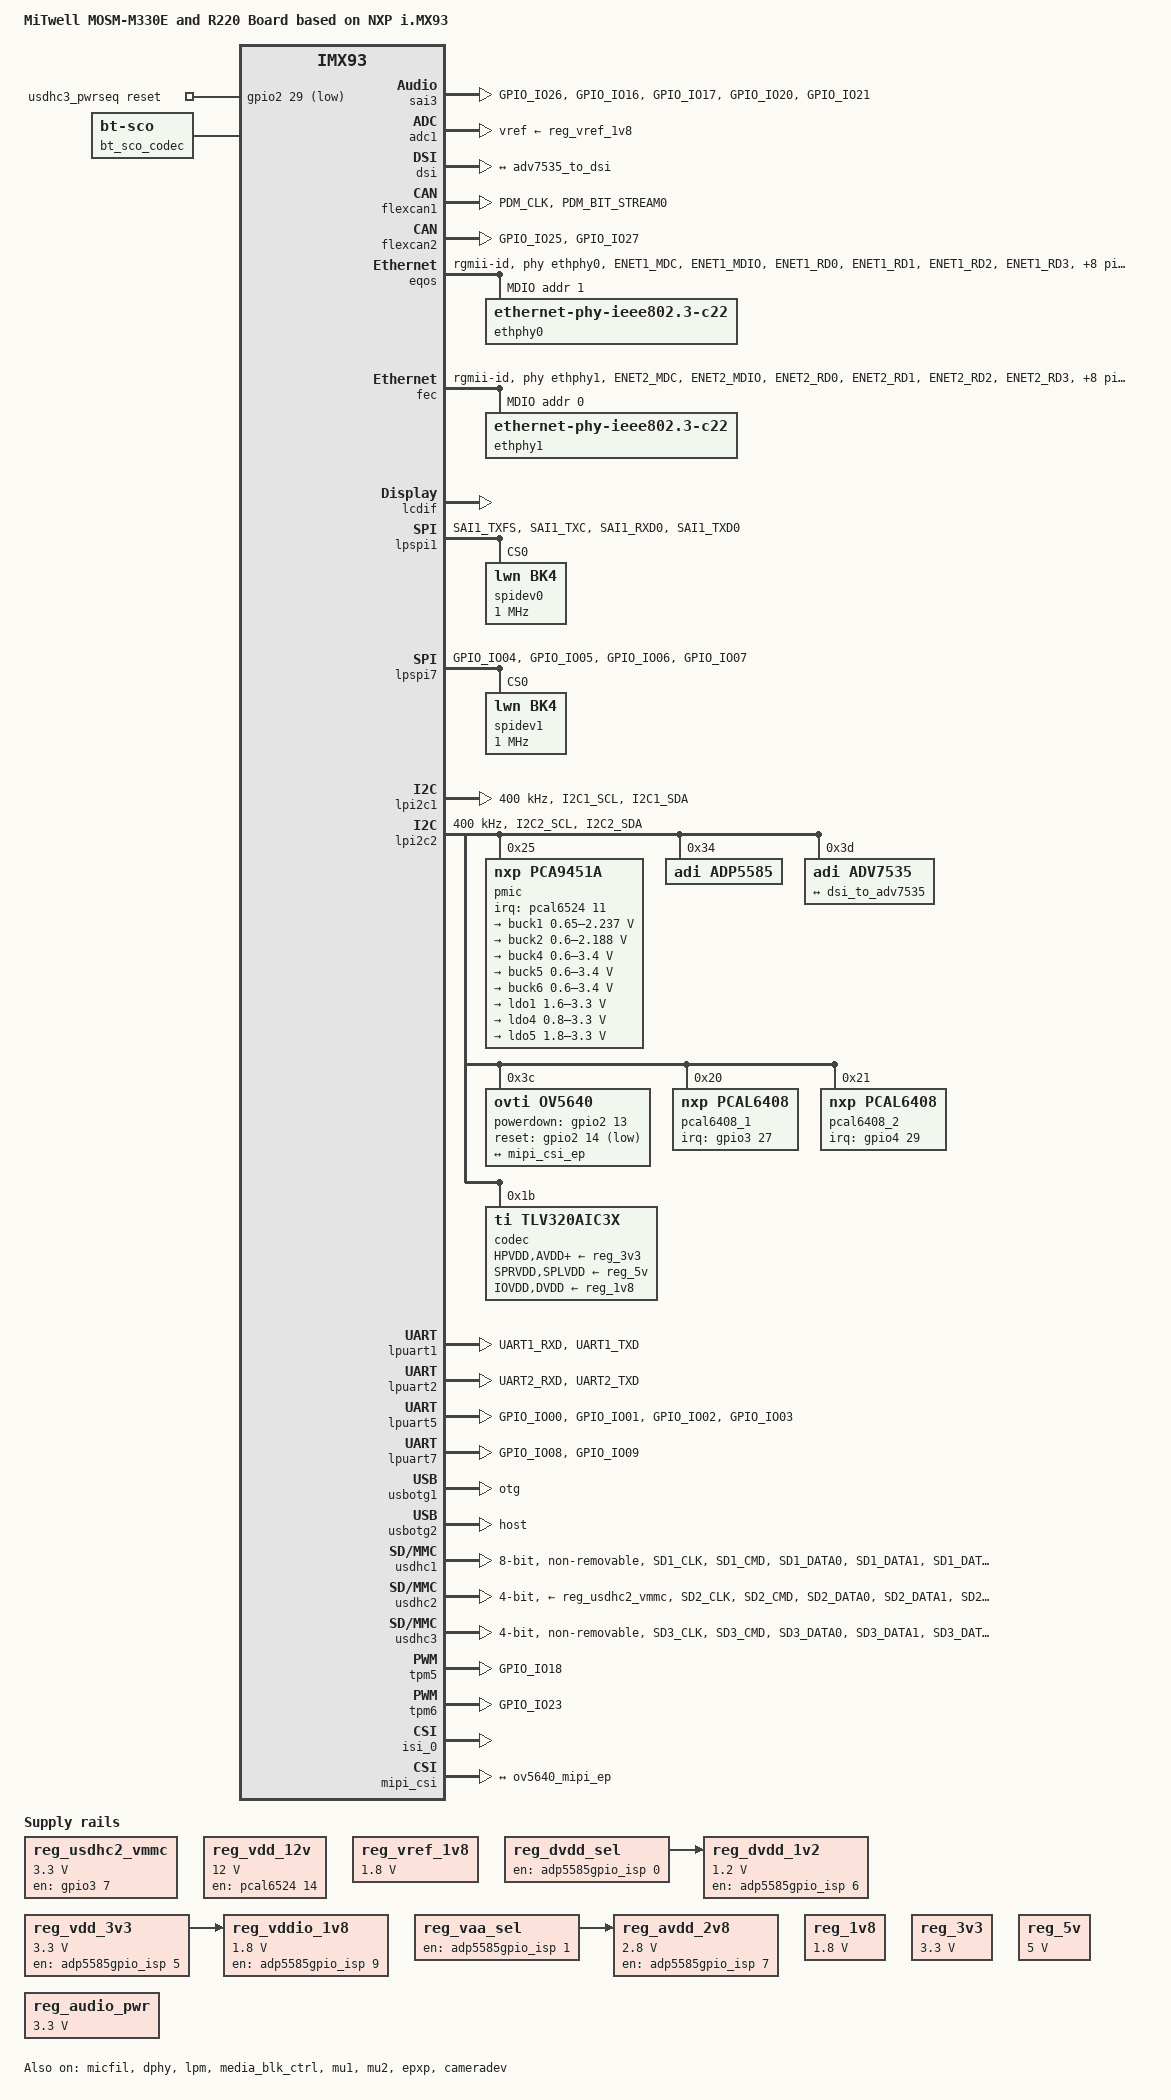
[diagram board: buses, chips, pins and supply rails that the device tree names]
// SPDX-License-Identifier: (GPL-2.0+ OR MIT)
/*
 * Copyright 2022 NXP
 */

/dts-v1/;

//#define M330E_R200
#define M330E_R400_R220
#define AUDIO_TLV320AIC3106

#include <dt-bindings/usb/pd.h>
#include "imx93.dtsi"
#include <dt-bindings/net/ti-dp83867.h>
#include <dt-bindings/sound/tlv320aic31xx.h>

&ele_mu {
	memory-region = <&ele_reserved>;
};

/ {
	model = "MiTwell MOSM-M330E and R220 Board based on NXP i.MX93";
	compatible = "fsl,imx93-11x11-evk", "fsl,imx93";

	chosen {
		stdout-path = &lpuart1;
	};

	reserved-memory {
		#address-cells = <2>;
		#size-cells = <2>;
		ranges;

		linux,cma {
			compatible = "shared-dma-pool";
			reusable;
			alloc-ranges = <0 0x80000000 0 0x40000000>;
			size = <0 0x10000000>;
			linux,cma-default;
		};

		ethosu_mem: ethosu_region@C0000000 {
			compatible = "shared-dma-pool";
			reusable;
			reg = <0x0 0xC0000000 0x0 0x10000000>;
		};

		vdev0vring0: vdev0vring0@a4000000 {
			reg = <0 0xa4000000 0 0x8000>;
			no-map;
		};

		vdev0vring1: vdev0vring1@a4008000 {
			reg = <0 0xa4008000 0 0x8000>;
			no-map;
		};

		vdev1vring0: vdev1vring0@a4000000 {
			reg = <0 0xa4010000 0 0x8000>;
			no-map;
		};

		vdev1vring1: vdev1vring1@a4018000 {
			reg = <0 0xa4018000 0 0x8000>;
			no-map;
		};

		rsc_table: rsc-table@2021e000 {
			reg = <0 0x2021e000 0 0x1000>;
			no-map;
		};

		vdevbuffer: vdevbuffer@a4020000 {
			compatible = "shared-dma-pool";
			reg = <0 0xa4020000 0 0x100000>;
			no-map;
		};

		ele_reserved: ele-reserved@a4120000 {
			compatible = "shared-dma-pool";
			reg = <0 0xa4120000 0 0x100000>;
			no-map;
		};
	};

	cm33: imx93-cm33 {
		compatible = "fsl,imx93-cm33";
		mbox-names = "tx", "rx", "rxdb";
		mboxes = <&mu1 0 1
			  &mu1 1 1
			  &mu1 3 1>;
		memory-region = <&vdevbuffer>, <&vdev0vring0>, <&vdev0vring1>,
				<&vdev1vring0>, <&vdev1vring1>, <&rsc_table>;
		fsl,startup-delay-ms = <500>;
	};

	ethosu {
		compatible = "arm,ethosu";
		fsl,cm33-proc = <&cm33>;
		memory-region = <&ethosu_mem>;
		power-domains = <&mlmix>;
	};

	/*reg_can2_stby: regulator-can2-stby {
		compatible = "regulator-fixed";
		regulator-name = "can2-stby";
		regulator-min-microvolt = <3300000>;
		regulator-max-microvolt = <3300000>;
		gpio = <&adp5585gpio 5 GPIO_ACTIVE_LOW>;
		enable-active-low;
	};*/

	reg_usdhc2_vmmc: regulator-usdhc2 {
		compatible = "regulator-fixed";
		pinctrl-names = "default";
		pinctrl-0 = <&pinctrl_reg_usdhc2_vmmc>;
		regulator-name = "VSD_3V3";
		regulator-min-microvolt = <3300000>;
		regulator-max-microvolt = <3300000>;
		gpio = <&gpio3 7 GPIO_ACTIVE_HIGH>;
		off-on-delay-us = <12000>;
		enable-active-high;
	};

	reg_vdd_12v: regulator-vdd-12v {
		compatible = "regulator-fixed";
		regulator-name = "reg_vdd_12v";
		regulator-min-microvolt = <12000000>;
		regulator-max-microvolt = <12000000>;
		gpio = <&pcal6524 14 GPIO_ACTIVE_HIGH>;
		enable-active-high;
	};

	reg_vref_1v8: regulator-adc-vref {
		compatible = "regulator-fixed";
		regulator-name = "vref_1v8";
		regulator-min-microvolt = <1800000>;
		regulator-max-microvolt = <1800000>;
	};

	reg_dvdd_sel: regulator-dvdd_sel {
		compatible = "regulator-fixed";
		regulator-name = "DVDD_SEL";
		gpio = <&adp5585gpio_isp 0 GPIO_ACTIVE_HIGH>;
		enable-active-high;
		startup-delay-us = <2000>;
	};

	reg_dvdd_1v2: regulator-dvdd {
		compatible = "regulator-fixed";
		regulator-name = "DVDD_1V2";
		gpio = <&adp5585gpio_isp 6 GPIO_ACTIVE_HIGH>;
		regulator-min-microvolt = <1200000>;
		regulator-max-microvolt = <1200000>;
		enable-active-high;
		vin-supply = <&reg_dvdd_sel>;
	};

	reg_vdd_3v3: regulator-vdd {
		compatible = "regulator-fixed";
		regulator-name = "VDD_3V3";
		gpio = <&adp5585gpio_isp 5 GPIO_ACTIVE_HIGH>;
		regulator-min-microvolt = <3300000>;
		regulator-max-microvolt = <3300000>;
		startup-delay-us = <4000>;
		enable-active-high;
	};

	reg_vddio_1v8: regulator-vddo {
		compatible = "regulator-fixed";
		regulator-name = "VDDIO_1V8";
		gpio = <&adp5585gpio_isp 9 GPIO_ACTIVE_HIGH>;
		regulator-min-microvolt = <1800000>;
		regulator-max-microvolt = <1800000>;
		startup-delay-us = <4000>;
		enable-active-high;
		vin-supply = <&reg_vdd_3v3>;
	};

	reg_vaa_sel: regulator-vaa_sel {
		compatible = "regulator-fixed";
		regulator-name = "VAA_SEL";
		gpio = <&adp5585gpio_isp 1 GPIO_ACTIVE_HIGH>;
		enable-active-high;
	};

	reg_avdd_2v8: regulator-avdd {
		compatible = "regulator-fixed";
		regulator-name = "AVDD_2V8";
		gpio = <&adp5585gpio_isp 7 GPIO_ACTIVE_HIGH>;
		regulator-min-microvolt = <2800000>;
		regulator-max-microvolt = <2800000>;
		enable-active-high;
		vin-supply = <&reg_vaa_sel>;
	};

#ifdef AUDIO_TLV320AIC3106
	sound-tlv320aic31xx {
		compatible = "fsl,imx-audio-tlv320aic3x";
		model = "tlv320aic3x";
		cpu-dai = <&sai3>;
		//audio-cpu = <&sai3>;
		audio-codec = <&codec>;
		audio-routing =
			"MIC3L", "Mic Jack",
			"Mic Jack", "Mic Bias",
			"Headphone Jack", "HPLOUT",
			"Headphone Jack", "HPROUT";
		mux-int-port = <1>;
		mux-ext-port = <3>;
		pri-dai-link {
			link-name = "tlv320aic3";
			format = "i2s";
			cpu {
				sound-dai = <&sai3>;
			};

			codec {
				sound-dai = <&codec>;
			};
		};
	};
#else
	sound-wm8960 {
		compatible = "fsl,imx-audio-wm8960";
		model = "wm8960-audio";
		audio-cpu = <&sai3>;
		audio-codec = <&codec>;
		hp-det-gpio = <&gpio4 28 0>;
		audio-routing =
			"Headphone Jack", "HP_L",
			"Headphone Jack", "HP_R",
			"Ext Spk", "SPK_LP",
			"Ext Spk", "SPK_LN",
			"Ext Spk", "SPK_RP",
			"Ext Spk", "SPK_RN",
			"LINPUT1", "Mic Jack",
			"LINPUT3", "Mic Jack",
			"Mic Jack", "MICB";
	};
#endif
	
#ifdef M330E_R400_R220
	regulators {
                 compatible = "simple-bus";
                 #address-cells = <1>;
                 #size-cells = <0>;
 
                 reg_1v8: codec-1v8 {
                         compatible = "regulator-fixed";
                         regulator-name = "codec-1v8";
                         regulator-min-microvolt = <1800000>;
                         regulator-max-microvolt = <1800000>;
                         regulator-always-on;
                 };
 
                 reg_3v3: codec-3v3 {
                         compatible = "regulator-fixed";
                         regulator-name = "codec-3v3";
                         regulator-min-microvolt = <3300000>;
                         regulator-max-microvolt = <3300000>;
                         regulator-always-on;
                 };
                 
                 reg_5v: codec-5v {
                         compatible = "regulator-fixed";
                         regulator-name = "codec-5v";
                         regulator-min-microvolt = <5000000>;
                         regulator-max-microvolt = <5000000>;
                         regulator-always-on;
                 };
                 
                 reg_audio_pwr: regulator-audio-pwr {
                         compatible = "regulator-fixed";
                         regulator-name = "audio-pwr";
                         regulator-min-microvolt = <3300000>;
                         regulator-max-microvolt = <3300000>;
                         enable-active-high;
                         regulator-always-on;
                 };
         };
	
	usdhc3_pwrseq: usdhc3_pwrseq {
		compatible = "mmc-pwrseq-simple";
		pinctrl-names = "default";
		pinctrl-0 = <&pinctrl_usdhc3_gpio>;
		reset-gpios = <&gpio2 29 GPIO_ACTIVE_LOW>;
		reset-assert-us = <15000>;
		reset-deassert-us = <80000>;
	};
#endif
	
	sound-micfil {
		compatible = "fsl,imx-audio-card";
		model = "micfil-audio";
		status = "disabled";
		pri-dai-link {
			link-name = "micfil hifi";
			format = "i2s";
			cpu {
				sound-dai = <&micfil>;
			};
		};
	};

	bt_sco_codec: bt_sco_codec {
		#sound-dai-cells = <1>;
		compatible = "linux,bt-sco";
	};

	sound-bt-sco {
		compatible = "simple-audio-card";
		simple-audio-card,name = "bt-sco-audio";
		simple-audio-card,format = "dsp_a";
		simple-audio-card,bitclock-inversion;
		simple-audio-card,frame-master = <&btcpu>;
		simple-audio-card,bitclock-master = <&btcpu>;

		btcpu: simple-audio-card,cpu {
			sound-dai = <&sai1>;
			dai-tdm-slot-num = <2>;
			dai-tdm-slot-width = <16>;
		};

		simple-audio-card,codec {
			sound-dai = <&bt_sco_codec 1>;
		};
	};

	/*sound-xcvr {
		compatible = "fsl,imx-audio-card";
		model = "imx-audio-xcvr";
		pri-dai-link {
			link-name = "XCVR PCM";
			cpu {
				sound-dai = <&xcvr>;
			};
		};
	};*/	
};

&sai1 {
	#sound-dai-cells = <0>;
	pinctrl-names = "default";
	pinctrl-0 = <&pinctrl_sai1>;
	assigned-clocks = <&clk IMX93_CLK_SAI1>;
	assigned-clock-parents = <&clk IMX93_CLK_AUDIO_PLL>;
	assigned-clock-rates = <12288000>;
	status = "disabled";
};

&sai3 {
#ifdef AUDIO_TLV320AIC3106
	#sound-dai-cells = <0>;
	pinctrl-names = "default";
	pinctrl-0 = <&pinctrl_sai3>;
	assigned-clocks = <&clk IMX93_CLK_SAI3>;
	assigned-clock-parents = <&clk IMX93_CLK_AUDIO_PLL>;
	assigned-clock-rates = <12288000>;
	clocks = <&clk IMX93_CLK_SAI3_IPG>, <&clk IMX93_CLK_DUMMY>,
		 <&clk IMX93_CLK_SAI3_GATE>, <&clk IMX93_CLK_DUMMY>,
		 <&clk IMX93_CLK_DUMMY>, <&clk IMX93_CLK_AUDIO_PLL>;
	clock-names = "bus", "mclk0", "mclk1", "mclk2", "mclk3", "pll8k";
	fsl,sai-mclk-direction-output;
	status = "okay";

#else
	#sound-dai-cells = <0>;
	pinctrl-names = "default";
	pinctrl-0 = <&pinctrl_sai3>;
	assigned-clocks = <&clk IMX93_CLK_SAI3>;
	assigned-clock-parents = <&clk IMX93_CLK_AUDIO_PLL>;
	assigned-clock-rates = <12288000>;
	fsl,sai-mclk-direction-output;
	status = "okay";
#endif
};

&micfil {
	#sound-dai-cells = <0>;
	pinctrl-names = "default";
	pinctrl-0 = <&pinctrl_pdm>;
	assigned-clocks = <&clk IMX93_CLK_PDM>;
	assigned-clock-parents = <&clk IMX93_CLK_AUDIO_PLL>;
	assigned-clock-rates = <49152000>;
	status = "okay";
};

/*&xcvr {
	#sound-dai-cells = <0>;
	pinctrl-names = "default";
	pinctrl-0 = <&pinctrl_spdif>;
	clocks = <&clk IMX93_CLK_BUS_WAKEUP>,
		<&clk IMX93_CLK_SPDIF_GATE>,
		<&clk IMX93_CLK_DUMMY>,
		<&clk IMX93_CLK_AUD_XCVR_GATE>,
		<&clk IMX93_CLK_AUDIO_PLL>;
	clock-names = "ipg", "phy", "spba", "pll_ipg", "pll8k";
	assigned-clocks = <&clk IMX93_CLK_SPDIF>,
			 <&clk IMX93_CLK_AUDIO_XCVR>;
	assigned-clock-parents = <&clk IMX93_CLK_AUDIO_PLL>,
			 <&clk IMX93_CLK_SYS_PLL_PFD1_DIV2>;
	assigned-clock-rates = <12288000>, <200000000>;
	status = "disabled";
};*/
	
&adc1 {
	vref-supply = <&reg_vref_1v8>;
	status = "okay";
};

&dphy {
	status = "okay";
};

&dsi {
	status = "okay";

	ports {
		port@1 {
			reg = <1>;

			dsi_to_adv7535: endpoint {
				remote-endpoint = <&adv7535_to_dsi>;
			};
		};
	};
};

&flexcan1 {
	pinctrl-names = "default";
	pinctrl-0 = <&pinctrl_flexcan1>;
	status = "okay";
};

&flexcan2 {
	pinctrl-names = "default";
	pinctrl-0 = <&pinctrl_flexcan2>;
	/*xceiver-supply = <&reg_can2_stby>;*/
	status = "okay";
};

&eqos {
	pinctrl-names = "default";
	pinctrl-0 = <&pinctrl_eqos>;
	phy-mode = "rgmii-id";
	phy-handle = <&ethphy0>;
	status = "okay";

	mdio {
		compatible = "snps,dwmac-mdio";
		#address-cells = <1>;
		#size-cells = <0>;
		clock-frequency = <5000000>;

		ethphy0: ethernet-phy@0 {
			compatible = "ethernet-phy-ieee802.3-c22";
			reg = <1>;
			/*reset-gpios = <&gpio4 22 GPIO_ACTIVE_LOW>;*/
			/*reset-assert-us = <10000>;*/
			/*reset-deassert-us = <80000>;*/
			enet-phy-lane-no-swap;
			
#ifdef M330E_R400_R220
			/* TI DP83867 */
			ti,rx-internal-delay = <DP83867_RGMIIDCTL_2_25_NS>;
			ti,tx-internal-delay = <DP83867_RGMIIDCTL_2_25_NS>;
			ti,fifo-depth = <DP83867_PHYCR_FIFO_DEPTH_4_B_NIB>;
			ti,dp83867-rxctrl-strap-quirk;
			ti,clk-output-sel = <DP83867_CLK_O_SEL_OFF>;
			ti,led-0-mode = <DP83867_LED_100BTX_LINKUP>;
			ti,led-1-mode = <DP83867_LED_1000BT_LINKUP>;
			ti,led-2-mode = <DP83867_LED_LINKUP_ACTIVITY>;
#endif

#ifdef M330E_R200
			/* ADI ADIN1300 */
			adi,rx-internal-delay-ps = <1800>;
			adi,tx-internal-delay-ps = <2200>;
#endif
		};
	};
};

&fec {
	pinctrl-names = "default";
	pinctrl-0 = <&pinctrl_fec>;
	phy-mode = "rgmii-id";
	phy-handle = <&ethphy1>;
	//phy-handle = <&ethphy0>;
	fsl,magic-packet;
	status = "okay";

	mdio {
		#address-cells = <1>;
		#size-cells = <0>;
		clock-frequency = <5000000>;

		ethphy1: ethernet-phy@1 {
		//ethphy0: ethernet-phy@0 {
			compatible = "ethernet-phy-ieee802.3-c22";
			reg = <0>;
			/*reset-gpios = <&gpio4 22 GPIO_ACTIVE_LOW>;*/
			/*reset-assert-us = <10000>;*/
			/*reset-deassert-us = <80000>;*/
			enet-phy-lane-no-swap;
#ifdef M330E_R400_R220
			/* TI DP83867 */
			ti,rx-internal-delay = <DP83867_RGMIIDCTL_2_25_NS>;
			ti,tx-internal-delay = <DP83867_RGMIIDCTL_2_25_NS>;
			ti,fifo-depth = <DP83867_PHYCR_FIFO_DEPTH_4_B_NIB>;
			ti,dp83867-rxctrl-strap-quirk;
			ti,clk-output-sel = <DP83867_CLK_O_SEL_OFF>;
			ti,led-0-mode = <DP83867_LED_100BTX_LINKUP>;
			ti,led-1-mode = <DP83867_LED_1000BT_LINKUP>;
			ti,led-2-mode = <DP83867_LED_LINKUP_ACTIVITY>;
#endif

#ifdef M330E_R200
			/* ADI ADIN1300 */
			adi,rx-internal-delay-ps = <1800>;
			adi,tx-internal-delay-ps = <2200>;
#endif
		};
	};
};

&lcdif {
	status = "okay";
	assigned-clock-rates = <445333333>, <148444444>, <400000000>, <133333333>;
};

&lpm {
	soc-supply = <&buck1>;
	status = "okay";
};

/* 
 * After Kernel version 6.x, declaring spidev in the DTS file is no longer supported; 
 * instead, it is necessary to declare the compatibility of the actual device.
 * Please refer to the comments in the spidev.c file for more information.
 */
&lpspi1 {
	#address-cells = <1>;
	#size-cells = <0>;
	fsl,spi-num-chipselects = <1>;
	pinctrl-names = "default";
	pinctrl-0 = <&pinctrl_lpspi1>;
	//cs-gpios = <&gpio2 8 GPIO_ACTIVE_LOW>;
	status = "okay";

	spidev0: spi@0 {
		reg = <0>;
		//compatible = "spidev";
		compatible = "lwn,bk4";
		spi-max-frequency = <1000000>;
		status = "okay";
	};
};

&lpspi7 {
	#address-cells = <1>;
	#size-cells = <0>;
	fsl,spi-num-chipselects = <1>;
	pinctrl-names = "default";
	pinctrl-0 = <&pinctrl_lpspi7>;
	//cs-gpios = <&gpio2 8 GPIO_ACTIVE_LOW>;
	status = "okay";

	spidev1: spi@0 {
		reg = <0>;
		//compatible = "spidev";
		compatible = "lwn,bk4";
		spi-max-frequency = <1000000>;
		status = "okay";
	};
};

/*
 * When add, delete or change any target device setting in &lpi2c1,
 * please synchronize the changes to the &i3c1 bus in imx93-11x11-evk-i3c.dts.
 */
&lpi2c1 {
	#address-cells = <1>;
	#size-cells = <0>;
	clock-frequency = <400000>;
	pinctrl-names = "default", "sleep";
	pinctrl-0 = <&pinctrl_lpi2c1>;
	pinctrl-1 = <&pinctrl_lpi2c1>;
	status = "okay";
};

&lpi2c2 {
	#address-cells = <1>;
	#size-cells = <0>;
	clock-frequency = <400000>;
	pinctrl-names = "default", "sleep";
	pinctrl-0 = <&pinctrl_lpi2c2>;
	pinctrl-1 = <&pinctrl_lpi2c2>;
	status = "okay";

	pmic@25 {
		compatible = "nxp,pca9451a";
		reg = <0x25>;
		interrupt-parent = <&pcal6524>;
		interrupts = <11 IRQ_TYPE_EDGE_FALLING>;

		regulators {
			buck1: BUCK1 {
				regulator-name = "BUCK1";
				regulator-min-microvolt = <650000>;
				regulator-max-microvolt = <2237500>;
				regulator-boot-on;
				regulator-always-on;
				regulator-ramp-delay = <3125>;
			};

			buck2: BUCK2 {
				regulator-name = "BUCK2";
				regulator-min-microvolt = <600000>;
				regulator-max-microvolt = <2187500>;
				regulator-boot-on;
				regulator-always-on;
				regulator-ramp-delay = <3125>;
			};

			buck4: BUCK4{
				regulator-name = "BUCK4";
				regulator-min-microvolt = <600000>;
				regulator-max-microvolt = <3400000>;
				regulator-boot-on;
				regulator-always-on;
			};

			buck5: BUCK5{
				regulator-name = "BUCK5";
				regulator-min-microvolt = <600000>;
				regulator-max-microvolt = <3400000>;
				regulator-boot-on;
				regulator-always-on;
			};

			buck6: BUCK6 {
				regulator-name = "BUCK6";
				regulator-min-microvolt = <600000>;
				regulator-max-microvolt = <3400000>;
				regulator-boot-on;
				regulator-always-on;
			};

			ldo1: LDO1 {
				regulator-name = "LDO1";
				regulator-min-microvolt = <1600000>;
				regulator-max-microvolt = <3300000>;
				regulator-boot-on;
				regulator-always-on;
			};

			ldo4: LDO4 {
				regulator-name = "LDO4";
				regulator-min-microvolt = <800000>;
				regulator-max-microvolt = <3300000>;
				regulator-boot-on;
				regulator-always-on;
			};

			ldo5: LDO5 {
				regulator-name = "LDO5";
				regulator-min-microvolt = <1800000>;
				regulator-max-microvolt = <3300000>;
				regulator-boot-on;
				regulator-always-on;
			};
		};
	};

	pcal6524: gpio@22 {
		compatible = "nxp,pcal6524";
		pinctrl-names = "default";
		pinctrl-0 = <&pinctrl_pcal6524>;
		reg = <0x22>;
		gpio-controller;
		#gpio-cells = <2>;
		/*interrupt-controller;*/
		/*#interrupt-cells = <2>;*/
		/*interrupt-parent = <&gpio3>;*/
		/*interrupts = <27 IRQ_TYPE_LEVEL_LOW>;*/
		status = "disabled";
	};

	adp5585: mfd@34 {
		compatible = "adi,adp5585";
		reg = <0x34>;

		adp5585gpio: gpio@34 {
			compatible = "adp5585-gpio";
			gpio-controller;
			#gpio-cells = <2>;
		};

		adp5585pwm: pwm@34 {
			compatible = "adp5585-pwm";
			#pwm-cells = <3>;
		};
	};

#ifdef M330E_R400_R220	
	adv7535: hdmi@3d {
		compatible = "adi,adv7535";
		reg = <0x3d>;
		adi,addr-cec = <0x3b>;
		adi,dsi-lanes = <4>;
		status = "okay";

		port {
			adv7535_to_dsi: endpoint {
				remote-endpoint = <&dsi_to_adv7535>;
			};
		};
	};
	
	ov5640: ov5640_mipi@3c {
		compatible = "ovti,ov5640";
		reg = <0x3c>;
		pinctrl-names = "default";
		pinctrl-0 = <&pinctrl_ov5640>;
		clocks = <&clk IMX93_CLK_CCM_CKO3>;
		clock-names = "xclk";
		assigned-clocks = <&clk IMX93_CLK_CCM_CKO3>;
		assigned-clock-parents = <&clk IMX93_CLK_24M>;
		assigned-clock-rates = <24000000>;
		
		csi_id = <0>;
		powerdown-gpios = <&gpio2 13 GPIO_ACTIVE_HIGH>;
		reset-gpios   = <&gpio2 14 GPIO_ACTIVE_LOW>;
		mclk = <24000000>;
		mclk_source = <0>;
		mipi_csi;
		status = "okay";

		port {
			ov5640_mipi_ep: endpoint {
				remote-endpoint = <&mipi_csi_ep>;
				data-lanes = <2>;
				cfg-clk-range = <28>;
				hs-clk-range = <0x16>;
			};
		};
	};
	
	pcal6408_1: gpio@20 {
		compatible = "nxp,pcal6408";
		pinctrl-names = "default";
		pinctrl-0 = <&pinctrl_pcal6408_1>;
		reg = <0x20>;
		gpio-controller;
		#gpio-cells = <2>;
		gpio-line-names =
			"GPIO-A-0", "GPIO-A-1", "GPIO-A-2", "GPIO-A-3", "GPIO-A-4", "GPIO-A-5", "ETH-A-RSTN", "ETH-B-RSTN";
		interrupt-controller;
		#interrupt-cells = <2>;
		interrupt-parent = <&gpio3>;
		interrupts = <27 IRQ_TYPE_LEVEL_LOW>;
		status = "okay";
	};
	
	pcal6408_2: gpio@21 {
		compatible = "nxp,pcal6408";
		pinctrl-names = "default";
		pinctrl-0 = <&pinctrl_pcal6408_2>;
		reg = <0x21>;
		gpio-controller;
		#gpio-cells = <2>;
		gpio-line-names =
			"USER-LED-0", "USER-LED-1", "USER-BTN-0", "USER-BTN-1", "HDMI-INTN", "ETH-A-INTN", "ETH-B-INTN", "AUDIO-RSTN";
		interrupt-controller;
		#interrupt-cells = <2>;
		interrupt-parent = <&gpio4>;
		interrupts = <29 IRQ_TYPE_LEVEL_LOW>;
		status = "okay";
	};
#endif

#ifdef AUDIO_TLV320AIC3106
	codec: tlv320aic3106@1b {
		#sound-dai-cells = <0>;
		pinctrl-names = "default";
		pinctrl-0 = <&pinctrl_tlv320>;
		compatible = "ti,tlv320aic3x";
		reg = <0x1b>;
		clocks = <&clk IMX93_CLK_SAI3_GATE>;
		clock-names = "mclk";
		HPVDD-supply = <&reg_3v3>;
		SPRVDD-supply = <&reg_5v>;
		SPLVDD-supply = <&reg_5v>;
		AVDD-supply = <&reg_3v3>;
		IOVDD-supply = <&reg_1v8>;
		DRVDD-supply = <&reg_3v3>;
		DVDD-supply = <&reg_1v8>;
		//reset-gpios = <&gpio2 14 GPIO_ACTIVE_LOW>;
		//ai3x-micbias-vg = <MICBIAS_2_0V>;
		ai3x-micbias-vg = <MICBIAS_AVDDV>;
		ai3x-ocmv = <3>;
		status = "okay";	
	};
#else
	codec: wm8960@1a {
		compatible = "wlf,wm8960";
		reg = <0x1a>;
		clocks = <&clk IMX93_CLK_SAI3_GATE>;
		clock-names = "mclk";
		wlf,shared-lrclk;
		//wlf,hp-cfg = <3 2 3>;
		//wlf,gpio-cfg = <1 3>;
		SPKVDD1-supply = <&reg_audio_pwr>;
		status = "okay";
	};
#endif
};

&lpi2c3 {
	#address-cells = <1>;
	#size-cells = <0>;
	clock-frequency = <400000>;
	pinctrl-names = "default", "sleep";
	pinctrl-0 = <&pinctrl_lpi2c3>;
	pinctrl-1 = <&pinctrl_lpi2c3>;
	status = "disabled";

	pcf2131: rtc@53 {
			compatible = "nxp,pcf2131";
			reg = <0x53>;
			interrupt-parent = <&pcal6524>;
			interrupts = <1 IRQ_TYPE_EDGE_FALLING>;
			status = "okay";
	};

	adp5585_isp: mfd-isp@34 {
		compatible = "adi,adp5585";
		reg = <0x34>;
		status = "okay";

		adp5585gpio_isp: gpio-isp@34 {
			compatible = "adp5585-gpio";
			gpio-controller;
			#gpio-cells = <2>;
		};

		adp5585pwm_isp: pwm-isp@34 {
			compatible = "adp5585-pwm";
			#pwm-cells = <3>;
		};
	};
	
	ap1302: ap1302_mipi@3c {
		compatible = "onsemi,ap1302";
		reg = <0x3c>;
		reset-gpios   = <&adp5585gpio 0 GPIO_ACTIVE_LOW>;
		isp_en-gpios  = <&adp5585gpio_isp 2 GPIO_ACTIVE_HIGH>;
		DVDD-supply   = <&reg_dvdd_1v2>;
		VDDIO-supply  = <&reg_vddio_1v8>;
		AVDD-supply   = <&reg_avdd_2v8>;
		status = "disabled";

		port {
			ar1302_mipi_ep: endpoint {
				remote-endpoint = <&mipi_csi_ep>;
			};
		};
	};
};

&lpuart1 { /* console */
	pinctrl-names = "default";
	pinctrl-0 = <&pinctrl_uart1>;
	status = "okay";
};

&lpuart2 {
	pinctrl-names = "default";
	pinctrl-0 = <&pinctrl_uart2>;
	status = "okay";
};

&lpuart5 {
	pinctrl-names = "default";
	/*pinctrl-assert-gpios = <&pcal6524 19 GPIO_ACTIVE_HIGH>;*/
	pinctrl-0 = <&pinctrl_uart5>;
	status = "okay";

	bluetooth {
		/*compatible = "nxp,88w8987-bt";*/
	};
};

&lpuart7 {
	/* M.2 KEY-E */ /* On board BT */
	pinctrl-names = "default";
	pinctrl-0 = <&pinctrl_uart7>;
	status = "okay";
	
	bluetooth {
		/*compatible = "nxp,88w8997-bt";*/
	};
};

&media_blk_ctrl {
	status = "okay";
};

&mu1 {
	status = "okay";
};

&mu2 {
	status = "okay";
};

#ifdef M330E_R400_R220
&usbotg1 {
	dr_mode = "otg";
	hnp-disable;
	srp-disable;
	adp-disable;
	disable-over-current;
	samsung,picophy-pre-emp-curr-control = <3>;
	samsung,picophy-dc-vol-level-adjust = <7>;
	status = "okay";
};

&usbotg2 {
	dr_mode = "host";
	disable-over-current;
	samsung,picophy-pre-emp-curr-control = <3>;
	samsung,picophy-dc-vol-level-adjust = <7>;
	status = "okay";
};
#endif

&usdhc1 {	/* eMMC */
	pinctrl-names = "default", "state_100mhz", "state_200mhz";
	pinctrl-0 = <&pinctrl_usdhc1>;
	pinctrl-1 = <&pinctrl_usdhc1_100mhz>;
	pinctrl-2 = <&pinctrl_usdhc1_200mhz>;
	bus-width = <8>;
	non-removable;
	status = "okay";
};

&usdhc2 {
	pinctrl-names = "default", "state_100mhz", "state_200mhz";
	pinctrl-0 = <&pinctrl_usdhc2>, <&pinctrl_usdhc2_gpio>;
	pinctrl-1 = <&pinctrl_usdhc2_100mhz>, <&pinctrl_usdhc2_gpio>;
	pinctrl-2 = <&pinctrl_usdhc2_200mhz>, <&pinctrl_usdhc2_gpio>;
	cd-gpios = <&gpio3 00 GPIO_ACTIVE_LOW>;
	vmmc-supply = <&reg_usdhc2_vmmc>;
	bus-width = <4>;
	status = "okay";
	no-sdio;
	no-mmc;
};

&usdhc3 {
	pinctrl-names = "default", "state_100mhz", "state_200mhz";
	pinctrl-0 = <&pinctrl_usdhc3>;
	pinctrl-1 = <&pinctrl_usdhc3>;
	pinctrl-2 = <&pinctrl_usdhc3>;	/* 200MHz may cause sdio initial failed */
	mmc-pwrseq = <&usdhc3_pwrseq>;
	//vmmc-supply = <&reg_usdhc3_vmmc>;
	//vmmc-supply = <&reg_wifi_en>;
	//pinctrl-assert-gpios = <&gpio2 29 GPIO_ACTIVE_HIGH>;
	bus-width = <4>;
	keep-power-in-suspend;
	non-removable;
	//wakeup-source;
	fsl,sdio-async-interrupt-enabled;
	//max-frequency = <100000000>;
	status = "okay";

	wifi_wake_host {
		/*compatible = "nxp,wifi-wake-host";
		interrupt-parent = <&gpio2>;
		interrupts = <28 IRQ_TYPE_LEVEL_LOW>;
		interrupt-names = "host-wake";*/
	};
};

&tpm5 {
	pinctrl-names = "default";
	pinctrl-0 = <&pinctrl_tpm5>;
	status = "okay";
};

&tpm6 {
	pinctrl-names = "default";
	pinctrl-0 = <&pinctrl_tpm6>;
	status = "okay";
};

&iomuxc {
	pinctrl_tpm5: tpm5grp {
		fsl,pins = <
			MX93_PAD_GPIO_IO18__TPM5_CH2 			0x31e
		>;
	};
	
	pinctrl_tpm6: tpm6grp {
		fsl,pins = <
			/*MX93_PAD_GPIO_IO23__TPM6_CH1 			0x31e*/
			MX93_PAD_GPIO_IO23__GPIO2_IO23			0x31e
		>;
	};

#ifdef M330E_R400_R220
	/*pinctrl_ov5647: ov5647grp {
		fsl,pins = <
			MX93_PAD_GPIO_IO14__GPIO2_IO14 			0x31e
		>;
	};*/
	
	pinctrl_ov5640: ov5640grp {
		fsl,pins = <
			MX93_PAD_GPIO_IO13__GPIO2_IO13 			0x31e
			MX93_PAD_GPIO_IO14__GPIO2_IO14 			0x31e
		>;
	};
#endif
	
	/*pinctrl_pwmen: pwmgrp {
		fsl,pins = <
			MX93_PAD_GPIO_IO19__GPIO2_IO19 			0x31e
		>;
	};*/
	
	pinctrl_lpspi1: lpspi1grp {
		fsl,pins = <
			MX93_PAD_SAI1_TXFS__LPSPI1_PCS0			0x3fe
			MX93_PAD_SAI1_TXC__LPSPI1_SIN			0x3fe
			MX93_PAD_SAI1_RXD0__LPSPI1_SOUT			0x3fe
			MX93_PAD_SAI1_TXD0__LPSPI1_SCK			0x3fe
		>;
	};
	
	pinctrl_lpspi7: lpspi7grp {
		fsl,pins = <
			MX93_PAD_GPIO_IO04__LPSPI7_PCS0			0x3fe
			MX93_PAD_GPIO_IO05__LPSPI7_SIN			0x3fe
			MX93_PAD_GPIO_IO06__LPSPI7_SOUT			0x3fe
			MX93_PAD_GPIO_IO07__LPSPI7_SCK			0x3fe
		>;
	};

	pinctrl_flexcan1: flexcan1grp {
		fsl,pins = <
			MX93_PAD_PDM_CLK__CAN1_TX			0x139e
			MX93_PAD_PDM_BIT_STREAM0__CAN1_RX		0x139e
		>;
	};
	
	pinctrl_flexcan2: flexcan2grp {
		fsl,pins = <
			MX93_PAD_GPIO_IO25__CAN2_TX			0x139e
			MX93_PAD_GPIO_IO27__CAN2_RX			0x139e
		>;
	};

	pinctrl_lpi2c1: lpi2c1grp {
		fsl,pins = <
			MX93_PAD_I2C1_SCL__LPI2C1_SCL			0x40000b9e
			MX93_PAD_I2C1_SDA__LPI2C1_SDA			0x40000b9e
		>;
	};

	pinctrl_lpi2c2: lpi2c2grp {
		fsl,pins = <
			MX93_PAD_I2C2_SCL__LPI2C2_SCL			0x40000b9e
			MX93_PAD_I2C2_SDA__LPI2C2_SDA			0x40000b9e
		>;
	};

	pinctrl_lpi2c3: lpi2c3grp {
		fsl,pins = <
			/*MX93_PAD_GPIO_IO28__LPI2C3_SDA			0x40000b9e*/
			/*MX93_PAD_GPIO_IO29__LPI2C3_SCL			0x40000b9e*/
		>;
	};

	pinctrl_pcal6524: pcal6524grp {
		fsl,pins = <
			/*MX93_PAD_CCM_CLKO2__GPIO3_IO27		0x31e*/
		>;
	};
	
	pinctrl_pcal6408_1: pcal6408grp1 {
		fsl,pins = <
			MX93_PAD_CCM_CLKO2__GPIO3_IO27			0x31e
		>;
	};
	
	pinctrl_pcal6408_2: pcal6408grp2 {
		fsl,pins = <
			MX93_PAD_CCM_CLKO4__GPIO4_IO29			0x31e
		>;
	};

	pinctrl_eqos: eqosgrp {
		fsl,pins = <
			MX93_PAD_ENET1_MDC__ENET_QOS_MDC			0x57e
			MX93_PAD_ENET1_MDIO__ENET_QOS_MDIO			0x57e
			MX93_PAD_ENET1_RD0__ENET_QOS_RGMII_RD0			0x57e
			MX93_PAD_ENET1_RD1__ENET_QOS_RGMII_RD1			0x57e
			MX93_PAD_ENET1_RD2__ENET_QOS_RGMII_RD2			0x57e
			MX93_PAD_ENET1_RD3__ENET_QOS_RGMII_RD3			0x57e
			MX93_PAD_ENET1_RXC__CCM_ENET_QOS_CLOCK_GENERATE_RX_CLK	0x5fe
			MX93_PAD_ENET1_RX_CTL__ENET_QOS_RGMII_RX_CTL		0x57e
			MX93_PAD_ENET1_TD0__ENET_QOS_RGMII_TD0			0x57e
			MX93_PAD_ENET1_TD1__ENET_QOS_RGMII_TD1			0x57e
			MX93_PAD_ENET1_TD2__ENET_QOS_RGMII_TD2			0x57e
			MX93_PAD_ENET1_TD3__ENET_QOS_RGMII_TD3			0x57e
			MX93_PAD_ENET1_TXC__CCM_ENET_QOS_CLOCK_GENERATE_TX_CLK	0x5fe
			MX93_PAD_ENET1_TX_CTL__ENET_QOS_RGMII_TX_CTL		0x57e
		>;
	};

	pinctrl_fec: fecgrp {
		fsl,pins = <
			MX93_PAD_ENET2_MDC__ENET1_MDC			0x57e
			MX93_PAD_ENET2_MDIO__ENET1_MDIO			0x57e
			MX93_PAD_ENET2_RD0__ENET1_RGMII_RD0		0x57e
			MX93_PAD_ENET2_RD1__ENET1_RGMII_RD1		0x57e
			MX93_PAD_ENET2_RD2__ENET1_RGMII_RD2		0x57e
			MX93_PAD_ENET2_RD3__ENET1_RGMII_RD3		0x57e
			MX93_PAD_ENET2_RXC__ENET1_RGMII_RXC		0x5fe
			MX93_PAD_ENET2_RX_CTL__ENET1_RGMII_RX_CTL	0x57e
			MX93_PAD_ENET2_TD0__ENET1_RGMII_TD0		0x57e
			MX93_PAD_ENET2_TD1__ENET1_RGMII_TD1		0x57e
			MX93_PAD_ENET2_TD2__ENET1_RGMII_TD2		0x57e
			MX93_PAD_ENET2_TD3__ENET1_RGMII_TD3		0x57e
			MX93_PAD_ENET2_TXC__ENET1_RGMII_TXC		0x5fe
			MX93_PAD_ENET2_TX_CTL__ENET1_RGMII_TX_CTL	0x57e
		>;
	};

	pinctrl_uart1: uart1grp {
		fsl,pins = <
			MX93_PAD_UART1_RXD__LPUART1_RX			0x31e
			MX93_PAD_UART1_TXD__LPUART1_TX			0x31e
		>;
	};
	
	pinctrl_uart2: uart2grp {
		fsl,pins = <
			MX93_PAD_UART2_RXD__LPUART2_RX			0x31e
			MX93_PAD_UART2_TXD__LPUART2_TX			0x31e
		>;
	};

	pinctrl_uart5: uart5grp {
		fsl,pins = <
			MX93_PAD_GPIO_IO00__LPUART5_TX			0x31e
			MX93_PAD_GPIO_IO01__LPUART5_RX			0x31e
			MX93_PAD_GPIO_IO02__LPUART5_CTS_B		0x31e
			MX93_PAD_GPIO_IO03__LPUART5_RTS_B		0x31e
			/*MX93_PAD_DAP_TDO_TRACESWO__LPUART5_TX		0x31e*/
			/*MX93_PAD_DAP_TDI__LPUART5_RX			0x31e*/
			/*MX93_PAD_DAP_TMS_SWDIO__LPUART5_RTS_B		0x31e*/
			/*MX93_PAD_DAP_TCLK_SWCLK__LPUART5_CTS_B	0x31e*/
		>;
	};
	
	pinctrl_uart7: uart7grp {
		fsl,pins = <
			MX93_PAD_GPIO_IO08__LPUART7_TX			0x31e
			MX93_PAD_GPIO_IO09__LPUART7_RX			0x31e
			//MX93_PAD_GPIO_IO10__LPUART7_CTS_B		0x31e
			//MX93_PAD_GPIO_IO11__LPUART7_RTS_B		0x31e
		>;
	};

	/* need to config the SION for data and cmd pad, refer to ERR052021 */
	pinctrl_usdhc1: usdhc1grp {
		fsl,pins = <
			MX93_PAD_SD1_CLK__USDHC1_CLK		0x1582
			MX93_PAD_SD1_CMD__USDHC1_CMD		0x40001382
			MX93_PAD_SD1_DATA0__USDHC1_DATA0	0x40001382
			MX93_PAD_SD1_DATA1__USDHC1_DATA1	0x40001382
			MX93_PAD_SD1_DATA2__USDHC1_DATA2	0x40001382
			MX93_PAD_SD1_DATA3__USDHC1_DATA3	0x40001382
			MX93_PAD_SD1_DATA4__USDHC1_DATA4	0x40001382
			MX93_PAD_SD1_DATA5__USDHC1_DATA5	0x40001382
			MX93_PAD_SD1_DATA6__USDHC1_DATA6	0x40001382
			MX93_PAD_SD1_DATA7__USDHC1_DATA7	0x40001382
			MX93_PAD_SD1_STROBE__USDHC1_STROBE	0x1582
		>;
	};
	
	/* need to config the SION for data and cmd pad, refer to ERR052021 */
	pinctrl_usdhc1_100mhz: usdhc1-100mhzgrp {
		fsl,pins = <
			MX93_PAD_SD1_CLK__USDHC1_CLK		0x158e
			MX93_PAD_SD1_CMD__USDHC1_CMD		0x4000138e
			MX93_PAD_SD1_DATA0__USDHC1_DATA0	0x4000138e
			MX93_PAD_SD1_DATA1__USDHC1_DATA1	0x4000138e
			MX93_PAD_SD1_DATA2__USDHC1_DATA2	0x4000138e
			MX93_PAD_SD1_DATA3__USDHC1_DATA3	0x4000138e
			MX93_PAD_SD1_DATA4__USDHC1_DATA4	0x4000138e
			MX93_PAD_SD1_DATA5__USDHC1_DATA5	0x4000138e
			MX93_PAD_SD1_DATA6__USDHC1_DATA6	0x4000138e
			MX93_PAD_SD1_DATA7__USDHC1_DATA7	0x4000138e
			MX93_PAD_SD1_STROBE__USDHC1_STROBE	0x158e
		>;
	};

	/* need to config the SION for data and cmd pad, refer to ERR052021 */
	pinctrl_usdhc1_200mhz: usdhc1-200mhzgrp {
		fsl,pins = <
			MX93_PAD_SD1_CLK__USDHC1_CLK		0x15fe
			MX93_PAD_SD1_CMD__USDHC1_CMD		0x400013fe
			MX93_PAD_SD1_DATA0__USDHC1_DATA0	0x400013fe
			MX93_PAD_SD1_DATA1__USDHC1_DATA1	0x400013fe
			MX93_PAD_SD1_DATA2__USDHC1_DATA2	0x400013fe
			MX93_PAD_SD1_DATA3__USDHC1_DATA3	0x400013fe
			MX93_PAD_SD1_DATA4__USDHC1_DATA4	0x400013fe
			MX93_PAD_SD1_DATA5__USDHC1_DATA5	0x400013fe
			MX93_PAD_SD1_DATA6__USDHC1_DATA6	0x400013fe
			MX93_PAD_SD1_DATA7__USDHC1_DATA7	0x400013fe
			MX93_PAD_SD1_STROBE__USDHC1_STROBE	0x15fe
		>;
	};

	pinctrl_reg_usdhc2_vmmc: regusdhc2vmmcgrp {
		fsl,pins = <
			MX93_PAD_SD2_RESET_B__GPIO3_IO07	0x31e
		>;
	};

	pinctrl_usdhc2_gpio: usdhc2gpiogrp {
		fsl,pins = <
			MX93_PAD_SD2_CD_B__GPIO3_IO00		0x31e
		>;
	};

	/* need to config the SION for data and cmd pad, refer to ERR052021 */
	pinctrl_usdhc2: usdhc2grp {
		fsl,pins = <
			MX93_PAD_SD2_CLK__USDHC2_CLK		0x1582
			MX93_PAD_SD2_CMD__USDHC2_CMD		0x40001382
			MX93_PAD_SD2_DATA0__USDHC2_DATA0	0x40001382
			MX93_PAD_SD2_DATA1__USDHC2_DATA1	0x40001382
			MX93_PAD_SD2_DATA2__USDHC2_DATA2	0x40001382
			MX93_PAD_SD2_DATA3__USDHC2_DATA3	0x40001382
			MX93_PAD_SD2_VSELECT__USDHC2_VSELECT	0x51e
		>;
	};
	
	/* need to config the SION for data and cmd pad, refer to ERR052021 */
	pinctrl_usdhc2_100mhz: usdhc2-100mhzgrp {
		fsl,pins = <
			MX93_PAD_SD2_CLK__USDHC2_CLK		0x158e
			MX93_PAD_SD2_CMD__USDHC2_CMD		0x4000138e
			MX93_PAD_SD2_DATA0__USDHC2_DATA0	0x4000138e
			MX93_PAD_SD2_DATA1__USDHC2_DATA1	0x4000138e
			MX93_PAD_SD2_DATA2__USDHC2_DATA2	0x4000138e
			MX93_PAD_SD2_DATA3__USDHC2_DATA3	0x4000138e
			MX93_PAD_SD2_VSELECT__USDHC2_VSELECT	0x51e
		>;
	};

	/* need to config the SION for data and cmd pad, refer to ERR052021 */
	pinctrl_usdhc2_200mhz: usdhc2-200mhzgrp {
		fsl,pins = <
			MX93_PAD_SD2_CLK__USDHC2_CLK		0x15fe
			MX93_PAD_SD2_CMD__USDHC2_CMD		0x400013fe
			MX93_PAD_SD2_DATA0__USDHC2_DATA0	0x400013fe
			MX93_PAD_SD2_DATA1__USDHC2_DATA1	0x400013fe
			MX93_PAD_SD2_DATA2__USDHC2_DATA2	0x400013fe
			MX93_PAD_SD2_DATA3__USDHC2_DATA3	0x400013fe
			MX93_PAD_SD2_VSELECT__USDHC2_VSELECT	0x51e
		>;
	};

	/* need to config the SION for data and cmd pad, refer to ERR052021 */
	pinctrl_usdhc3: usdhc3grp {
		fsl,pins = <
			MX93_PAD_SD3_CLK__USDHC3_CLK		0x1582
			MX93_PAD_SD3_CMD__USDHC3_CMD		0x40001382
			MX93_PAD_SD3_DATA0__USDHC3_DATA0	0x40001382
			MX93_PAD_SD3_DATA1__USDHC3_DATA1	0x40001382
			MX93_PAD_SD3_DATA2__USDHC3_DATA2	0x40001382
			MX93_PAD_SD3_DATA3__USDHC3_DATA3	0x40001382
			//MX93_PAD_GPIO_IO29__GPIO2_IO29	0x31e
		>;
	};
	
	/* need to config the SION for data and cmd pad, refer to ERR052021 */
	pinctrl_usdhc3_100mhz: usdhc3-100mhzgrp {
		fsl,pins = <
			MX93_PAD_SD3_CLK__USDHC3_CLK		0x158e
			MX93_PAD_SD3_CMD__USDHC3_CMD		0x4000138e
			MX93_PAD_SD3_DATA0__USDHC3_DATA0	0x4000138e
			MX93_PAD_SD3_DATA1__USDHC3_DATA1	0x4000138e
			MX93_PAD_SD3_DATA2__USDHC3_DATA2	0x4000138e
			MX93_PAD_SD3_DATA3__USDHC3_DATA3	0x4000138e
			//MX93_PAD_GPIO_IO29__GPIO2_IO29	0x31e
		>;
	};

	/* need to config the SION for data and cmd pad, refer to ERR052021 */
	pinctrl_usdhc3_200mhz: usdhc3-200mhzgrp {
		fsl,pins = <
			MX93_PAD_SD3_CLK__USDHC3_CLK		0x15fe
			MX93_PAD_SD3_CMD__USDHC3_CMD		0x400013fe
			MX93_PAD_SD3_DATA0__USDHC3_DATA0	0x400013fe
			MX93_PAD_SD3_DATA1__USDHC3_DATA1	0x400013fe
			MX93_PAD_SD3_DATA2__USDHC3_DATA2	0x400013fe
			MX93_PAD_SD3_DATA3__USDHC3_DATA3	0x400013fe
			//MX93_PAD_GPIO_IO29__GPIO2_IO29	0x31e
		>;
	};
	
	pinctrl_usdhc3_gpio: usdhc3gpiogrp {
		fsl,pins = <
			MX93_PAD_GPIO_IO28__GPIO2_IO28		0xb1e	/* orig 31e */
			MX93_PAD_GPIO_IO29__GPIO2_IO29		0xb1e	/* orig 31e */
		>;
	};

	/*pinctrl_usdhc3_wlan: usdhc3wlangrp {
		fsl,pins = <
			MX93_PAD_CCM_CLKO1__GPIO3_IO26		0x31e
		>;
	};*/

	pinctrl_sai1: sai1grp {
		fsl,pins = <
			MX93_PAD_SAI1_TXC__SAI1_TX_BCLK			0x31e
			MX93_PAD_SAI1_TXFS__SAI1_TX_SYNC		0x31e
			MX93_PAD_SAI1_TXD0__SAI1_TX_DATA00		0x31e
			MX93_PAD_SAI1_RXD0__SAI1_RX_DATA00		0x31e
		>;
	};

	pinctrl_sai3: sai3grp {
		fsl,pins = <
			MX93_PAD_GPIO_IO26__SAI3_TX_SYNC		0x31e
			MX93_PAD_GPIO_IO16__SAI3_TX_BCLK		0x31e
			MX93_PAD_GPIO_IO17__SAI3_MCLK			0x31e
			MX93_PAD_GPIO_IO20__SAI3_RX_DATA00		0x31e
			MX93_PAD_GPIO_IO21__SAI3_TX_DATA00		0x31e
		>;
	};

	pinctrl_tlv320: tlv320grp {
		fsl,pins = <
			/*MX93_PAD_GPIO_IO14__GPIO2_IO14 		0x31e*/
		>;
	};
	
	pinctrl_pdm: pdmgrp {
		fsl,pins = <
			MX93_PAD_PDM_CLK__PDM_CLK			0x31e
			MX93_PAD_PDM_BIT_STREAM0__PDM_BIT_STREAM00	0x31e
			MX93_PAD_PDM_BIT_STREAM1__PDM_BIT_STREAM01	0x31e
		>;
	};

	/*pinctrl_spdif: spdifgrp {
		fsl,pins = <
			MX93_PAD_GPIO_IO22__SPDIF_IN		0x31e
			MX93_PAD_GPIO_IO23__SPDIF_OUT		0x31e
		>;
	};*/
};

&epxp {
	status = "okay";
};

&cameradev {
	status = "okay";
};

&isi_0 {
	status = "okay";

	cap_device {
		status = "okay";
	};
	
	m2m_device {
		status = "okay";
	};
};

&mipi_csi {
	#address-cells = <1>;
	#size-cells = <0>;
	status = "okay";
	
#ifdef M330E_R400_R220
	port@0 {
		reg = <0>;
		mipi_csi_ep: endpoint {
			remote-endpoint = <&ov5640_mipi_ep>;
			data-lanes = <2>;
			cfg-clk-range = <28>;
			hs-clk-range = <0x16>;
			bus-type = <4>;
		};
	};
#endif
};

